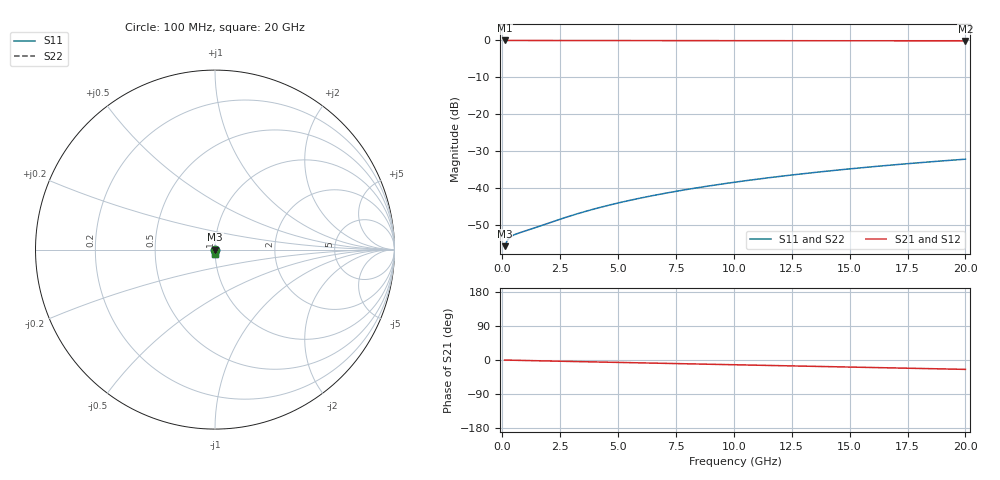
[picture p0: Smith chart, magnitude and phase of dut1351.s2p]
! Touchstone file exported from HFSS 2026.1.0
!  File:  C:/ffzhzh/LocalFiles/Ansys_Project_Files/temp_train_BSMRDL_1351_1783179028_43440.aedt
!  Generated:  11:31:34 PM Jul  4, 2026
!  Design:  BSMRDL
!  Project:  temp_train_BSMRDL_1351_1783179028_43440
! Variables:
!  h_bsmrdl = 6um
!  h_ox = 20um
!  h_rdl = 5um
!  h_sub = 80um
!  h_tmrdl = 5um
!  h_tsv = 80um
!  h_via = 3um
!  l_bsmrdl = 445.08um
!  l_sub = 845.08um
!  l_tmrdl = 200um
!  m_sub = 200um
!  pitch = 24.02um
!  r_tsv = 6um
!  s_tmrdl = 10um
!  w_bsmrdl = 19.32um
!  w_sub = 500um
!  w_tmrdl = 12um
!  x_tsv_center1 = 206um
!  x_tsv_center2 = 670.4um
!  x_tsv_center3 = 882.4um
!  x_tsv_center4 = 1346.8um
!  x_tsv_center5 = 1558.8um
!  x_tsv_center6 = 2023.2um
# GHz S MA R 50.000000
! Terminal data exported
! Port[1] = BSM_RDL1_1_T1
! Port[2] = BSM_RDL1_1_T2
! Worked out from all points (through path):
!   200 points, 100 MHz to 20 GHz, reference 50 ohm
!   highest |S21| = -0.01 dB at 100 MHz (marker M1); lowest = -0.1 dB at 20 GHz (marker M2)
!   group delay of S21, straight-line fit = 3.42 ps
!   lowest |S11| = -55.8 dB at 100 MHz (marker M3), VSWR 1.00, Z = 50.2 + j0.0348 ohm
!   |S11| at or under -10 dB: start of sweep to end of sweep
!   |S22| runs from -55.8 to -32.2 dB; largest |S21 - S12| = 2.7e-15
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0.1  0.00162 12.4  0.9984 -0.1  0.9984 -0.1  0.00162 12.4
! Gamma 0 0 0 0
! Port Impedance 50 0 50 0
0.2  0.001895 15.0  0.9982 -0.3  0.9982 -0.3  0.001895 15.1
0.3  0.002088 14.1  0.998 -0.4  0.998 -0.4  0.002089 14.1
0.4  0.002213 12.7  0.9978 -0.6  0.9978 -0.6  0.002214 12.7
0.5  0.002301 11.5  0.9977 -0.7  0.9977 -0.7  0.002302 11.5
0.7  0.002432 9.9  0.9976 -0.9  0.9976 -0.9  0.002434 9.9
1.3  0.002802 6.7  0.9972 -1.7  0.9972 -1.7  0.002803 6.7
2.5  0.003764 -2.0  0.9962 -3.2  0.9962 -3.2  0.003766 -2.0
3.5  0.004709 -11.3  0.9953 -4.5  0.9953 -4.5  0.004712 -11.3
4.2  0.00541 -17.8  0.9947 -5.4  0.9947 -5.4  0.005415 -17.8
5  0.006239 -24.7  0.9941 -6.4  0.9941 -6.4  0.006246 -24.7
5.9  0.007202 -31.7  0.9934 -7.5  0.9934 -7.5  0.007211 -31.7
6.8  0.008191 -37.9  0.9928 -8.6  0.9928 -8.6  0.008204 -37.8
7.6  0.009092 -42.7  0.9923 -9.6  0.9923 -9.6  0.009107 -42.6
8.4  0.01001 -47.1  0.9919 -10.6  0.9919 -10.6  0.01003 -47.0
10.1  0.01202 -55.0  0.991 -12.6  0.991 -12.6  0.01204 -54.9
11.7  0.01396 -61.2  0.9902 -14.6  0.9902 -14.6  0.01399 -61.0
13.4  0.01608 -66.9  0.9894 -16.7  0.9894 -16.7  0.01611 -66.7
15  0.0181 -71.6  0.9887 -18.6  0.9887 -18.6  0.01814 -71.4
16.7  0.02027 -76.1  0.988 -20.7  0.988 -20.7  0.02031 -75.9
18.3  0.02232 -80.0  0.9874 -22.7  0.9874 -22.7  0.02237 -79.8
20  0.0245 -83.9  0.9867 -24.7  0.9867 -24.7  0.02456 -83.6
